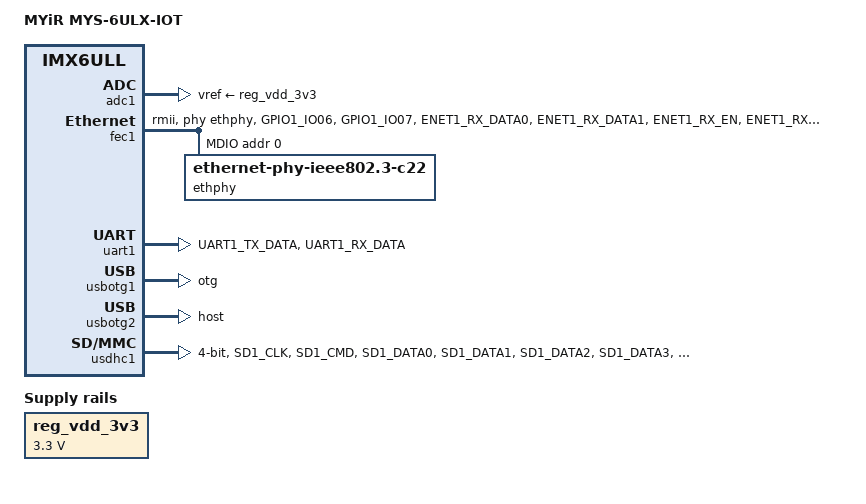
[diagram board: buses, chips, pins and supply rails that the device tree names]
// SPDX-License-Identifier: (GPL-2.0+ OR MIT)
/*
 * Copyright 2019 Sven Schwermer
 */

/dts-v1/;
#include <dt-bindings/gpio/gpio.h>
#include "imx6ull.dtsi"

/ {
	model = "MYiR MYS-6ULX-IOT";
	compatible = "myir,mys-6ulx-iot", "fsl,imx6ull";

	chosen {
		stdout-path = &uart1;
	};

	reg_vdd_3v3: regulator-vdd-3v3 {
		compatible = "regulator-fixed";
		regulator-name = "VDD_3V3";
		regulator-always-on;
		regulator-min-microvolt = <3300000>;
		regulator-max-microvolt = <3300000>;
	};
};

&adc1 {
	vref-supply = <&reg_vdd_3v3>;
};

&fec1 {
	pinctrl-names = "default";
	pinctrl-0 = <&pinctrl_enet1 &pinctrl_ethphy_reset>;
	phy-mode = "rmii";
	phy-handle = <&ethphy>;
	phy-reset-gpios = <&gpio5 6 GPIO_ACTIVE_LOW>;
	status = "okay";

	mdio {
		#address-cells = <1>;
		#size-cells = <0>;

		ethphy: ethernet-phy@0 {
			compatible = "ethernet-phy-ieee802.3-c22";
			reg = <0>;
		};
	};
};

/*
&gpmi {
	pinctrl-names = "default";
	pinctrl-0 = <&pinctrl_gpmi_nand>;
	nand-on-flash-bbt;
	nand-ecc-mode = "hw";
	nand-ecc-strength = <8>;
	nand-ecc-step-size = <512>;
	status = "okay";
};
*/

&sdma {
	status = "okay";
};

&snvs_pwrkey {
	status = "disabled";
};

&uart1 {
	pinctrl-names = "default";
	pinctrl-0 = <&pinctrl_uart1>;
	status = "okay";
};

&usbotg1 {
	dr_mode = "otg";
	srp-disable;
	hnp-disable;
	adp-disable;
	status = "okay";
};

&usbotg2 {
	dr_mode = "host";
	status = "okay";
};

&usdhc1 {
	pinctrl-names = "default", "state_100mhz", "state_200mhz";
	pinctrl-0 = <&pinctrl_usdhc1 &pinctrl_usdhc1_cd>;
	pinctrl-1 = <&pinctrl_usdhc1_100mhz>;
	pinctrl-2 = <&pinctrl_usdhc1_200mhz>;
	assigned-clocks = <&clks IMX6UL_CLK_USDHC1_SEL>, <&clks IMX6UL_CLK_USDHC1>;
	assigned-clock-parents = <&clks IMX6UL_CLK_PLL2_PFD2>;
	assigned-clock-rates = <0>, <198000000>;
	cd-gpios = <&gpio1 19 GPIO_ACTIVE_LOW>;
	bus-width = <4>;
	status = "okay";
};

&iomuxc {
	pinctrl_enet1: enet1-grp {
		fsl,pins = <
			MX6UL_PAD_GPIO1_IO06__ENET1_MDIO	0x1b0b0
			MX6UL_PAD_GPIO1_IO07__ENET1_MDC		0x1b0b0
			MX6UL_PAD_ENET1_RX_DATA0__ENET1_RDATA00	0x1b0b0
			MX6UL_PAD_ENET1_RX_DATA1__ENET1_RDATA01	0x1b0b0
			MX6UL_PAD_ENET1_RX_EN__ENET1_RX_EN	0x1b0b0
			MX6UL_PAD_ENET1_RX_ER__ENET1_RX_ER	0x1b0b0
			MX6UL_PAD_ENET1_TX_CLK__ENET1_REF_CLK1	0x4001b031
			MX6UL_PAD_ENET1_TX_DATA0__ENET1_TDATA00	0x1b0b0
			MX6UL_PAD_ENET1_TX_DATA1__ENET1_TDATA01	0x1b0b0
			MX6UL_PAD_ENET1_TX_EN__ENET1_TX_EN	0x1b0b0
		>;
	};

	pinctrl_uart1: uart1-grp {
		fsl,pins = <
			MX6UL_PAD_UART1_TX_DATA__UART1_DCE_TX	0x1b0b1
			MX6UL_PAD_UART1_RX_DATA__UART1_DCE_RX	0x1b0b1
		>;
	};

	pinctrl_usdhc1: usdhc1-grp {
		fsl,pins = <
			MX6UL_PAD_SD1_CLK__USDHC1_CLK       0x17059
			MX6UL_PAD_SD1_CMD__USDHC1_CMD       0x10059
			MX6UL_PAD_SD1_DATA0__USDHC1_DATA0   0x17059
			MX6UL_PAD_SD1_DATA1__USDHC1_DATA1   0x17059
			MX6UL_PAD_SD1_DATA2__USDHC1_DATA2   0x17059
			MX6UL_PAD_SD1_DATA3__USDHC1_DATA3   0x17059
		>;
	};

	pinctrl_usdhc1_100mhz: usdhc1-100mhz-grp {
		fsl,pins = <
			MX6UL_PAD_SD1_CLK__USDHC1_CLK       0x170b9
			MX6UL_PAD_SD1_CMD__USDHC1_CMD       0x100b9
			MX6UL_PAD_SD1_DATA0__USDHC1_DATA0   0x170b9
			MX6UL_PAD_SD1_DATA1__USDHC1_DATA1   0x170b9
			MX6UL_PAD_SD1_DATA2__USDHC1_DATA2   0x170b9
			MX6UL_PAD_SD1_DATA3__USDHC1_DATA3   0x170b9
		>;
	};

	pinctrl_usdhc1_200mhz: usdhc1-200mhz-grp {
		fsl,pins = <
			MX6UL_PAD_SD1_CLK__USDHC1_CLK       0x170f9
			MX6UL_PAD_SD1_CMD__USDHC1_CMD       0x100f9
			MX6UL_PAD_SD1_DATA0__USDHC1_DATA0   0x170b9
			MX6UL_PAD_SD1_DATA1__USDHC1_DATA1   0x170b9
			MX6UL_PAD_SD1_DATA2__USDHC1_DATA2   0x170b9
			MX6UL_PAD_SD1_DATA3__USDHC1_DATA3   0x170b9
		>;
	};

	pinctrl_usdhc1_cd: usdhc1-cd-grp {
		fsl,pins = <
			MX6UL_PAD_UART1_RTS_B__GPIO1_IO19	0x100b0
		>;
	};
};

&iomuxc_snvs {
	pinctrl_ethphy_reset: ethphy-grp {
		fsl,pins = <
			MX6ULL_PAD_SNVS_TAMPER6__GPIO5_IO06 0x130b0
		>;
	};
};
